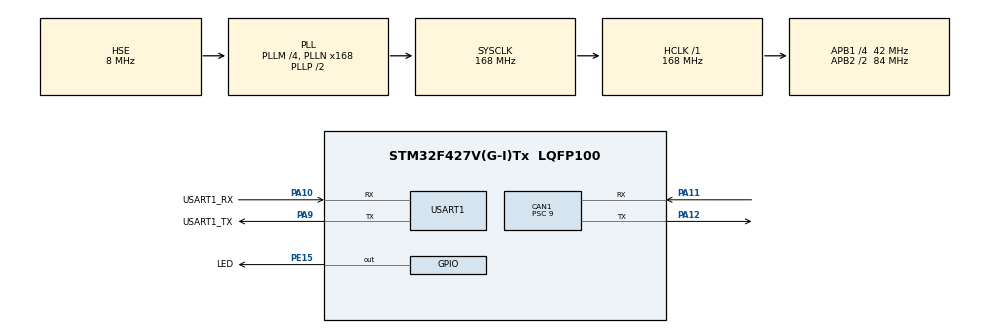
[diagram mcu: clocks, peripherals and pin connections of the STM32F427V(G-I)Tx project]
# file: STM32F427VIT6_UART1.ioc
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CAN1.BS1=CAN_BS1_5TQ
CAN1.BS2=CAN_BS2_6TQ
CAN1.CalculateTimeBit=2571
CAN1.CalculateTimeQuantum=214.28571428571428
CAN1.Prescaler=9
Mcu.Family=STM32F4
Mcu.Name=STM32F427V(G-I)Tx
Mcu.Package=LQFP100
NVIC.PriorityGroup=NVIC_PRIORITYGROUP_4
NVIC.USART1_IRQn=true\:0\:0\:false\:false\:true\:true
PA10.GPIO_Label=USART1_RX
PA10.Mode=Asynchronous
PA10.Signal=USART1_RX
PA11.Mode=Master
PA11.Signal=CAN1_RX
PA12.Mode=Master
PA12.Signal=CAN1_TX
PA9.GPIO_Label=USART1_TX
PA9.Mode=Asynchronous
PA9.Signal=USART1_TX
PE15.GPIO_Label=LED
PE15.PinState=GPIO_PIN_SET
PE15.Signal=GPIO_Output
PH0/OSC_IN.Mode=HSE-External-Oscillator
PH0/OSC_IN.Signal=RCC_OSC_IN
PH1/OSC_OUT.Mode=HSE-External-Oscillator
PH1/OSC_OUT.Signal=RCC_OSC_OUT
ProjectManager.HeapSize=0x200
ProjectManager.StackSize=0x400
ProjectManager.TargetToolchain=MDK-ARM V5
RCC.48MHZClocksFreq_Value=84000000
RCC.AHBFreq_Value=168000000
RCC.APB1CLKDivider=RCC_HCLK_DIV4
RCC.APB1Freq_Value=42000000
RCC.APB1TimFreq_Value=84000000
RCC.APB2CLKDivider=RCC_HCLK_DIV2
RCC.APB2Freq_Value=84000000
RCC.APB2TimFreq_Value=168000000
RCC.CortexFreq_Value=168000000
RCC.HCLKFreq_Value=168000000
RCC.HSE_VALUE=8000000
RCC.HSI_VALUE=16000000
RCC.LSE_VALUE=32768
RCC.PLLM=4
RCC.PLLN=168
RCC.PLLSourceVirtual=RCC_PLLSOURCE_HSE
RCC.SYSCLKFreq_VALUE=168000000
RCC.SYSCLKSource=RCC_SYSCLKSOURCE_PLLCLK
RCC.VCOOutputFreq_Value=336000000
USART1.VirtualMode=VM_ASYNC
board=STM32F427VIT6_UART1

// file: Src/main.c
/**
  ******************************************************************************
  * File Name          : main.c
  * Description        : Main program body
  ******************************************************************************
  ** This notice applies to any and all portions of this file
  * that are not between comment pairs USER CODE BEGIN and
  * USER CODE END. Other portions of this file, whether
  * inserted by the user or by software development tools
  * are owned by their respective copyright owners.
  *
  * COPYRIGHT(c) 2018 STMicroelectronics
  *
  * Redistribution and use in source and binary forms, with or without modification,
  * are permitted provided that the following conditions are met:
  *   1. Redistributions of source code must retain the above copyright notice,
  *      this list of conditions and the following disclaimer.
  *   2. Redistributions in binary form must reproduce the above copyright notice,
  *      this list of conditions and the following disclaimer in the documentation
  *      and/or other materials provided with the distribution.
  *   3. Neither the name of STMicroelectronics nor the names of its contributors
  *      may be used to endorse or promote products derived from this software
  *      without specific prior written permission.
  *
  * THIS SOFTWARE IS PROVIDED BY THE COPYRIGHT HOLDERS AND CONTRIBUTORS "AS IS"
  * AND ANY EXPRESS OR IMPLIED WARRANTIES, INCLUDING, BUT NOT LIMITED TO, THE
  * IMPLIED WARRANTIES OF MERCHANTABILITY AND FITNESS FOR A PARTICULAR PURPOSE ARE
  * DISCLAIMED. IN NO EVENT SHALL THE COPYRIGHT HOLDER OR CONTRIBUTORS BE LIABLE
  * FOR ANY DIRECT, INDIRECT, INCIDENTAL, SPECIAL, EXEMPLARY, OR CONSEQUENTIAL
  * DAMAGES (INCLUDING, BUT NOT LIMITED TO, PROCUREMENT OF SUBSTITUTE GOODS OR
  * SERVICES; LOSS OF USE, DATA, OR PROFITS; OR BUSINESS INTERRUPTION) HOWEVER
  * CAUSED AND ON ANY THEORY OF LIABILITY, WHETHER IN CONTRACT, STRICT LIABILITY,
  * OR TORT (INCLUDING NEGLIGENCE OR OTHERWISE) ARISING IN ANY WAY OUT OF THE USE
  * OF THIS SOFTWARE, EVEN IF ADVISED OF THE POSSIBILITY OF SUCH DAMAGE.
  *
  ******************************************************************************
  */

#include "main.h"
#include "stm32f4xx_hal.h"

CAN_HandleTypeDef hcan1;

UART_HandleTypeDef huart1;

/* USER CODE BEGIN PV */
/* Private variables ---------------------------------------------------------*/

/* USER CODE END PV */

void SystemClock_Config(void);
static void MX_GPIO_Init(void);
static void MX_USART1_UART_Init(void);
static void MX_CAN1_Init(void);

/* USER CODE BEGIN PFP */
/* Private function prototypes -----------------------------------------------*/

/* USER CODE END PFP */

/* USER CODE BEGIN 0 */

//printf重定义
#ifdef __GNUC__
  /* With GCC/RAISONANCE, small printf (option LD Linker->Libraries->Small printf
     set to 'Yes') calls __io_putchar() */
  #define PUTCHAR_PROTOTYPE int __io_putchar(int ch)
#else
  #define PUTCHAR_PROTOTYPE int fputc(int ch, FILE *f)
#endif /* __GNUC__ */
/**
  * @brief  Retargets the C library printf function to the USART.
  * @param  None
  * @retval None
  */
PUTCHAR_PROTOTYPE
{
  /* Place your implementation of fputc here */
  /* e.g. write a character to the EVAL_COM1 and Loop until the end of transmission */
  HAL_UART_Transmit(&huart1, (uint8_t *)&ch, 1, 0xFFFF);

  return ch;
}

/* USER CODE END 0 */

int main(void)
{

  /* USER CODE BEGIN 1 */
//	u16 VAL=0;
	uint8_t count;
//	u16 Num[5];
//	float temp;
  /* USER CODE END 1 */

  /* MCU Configuration----------------------------------------------------------*/

  /* Reset of all peripherals, Initializes the Flash interface and the Systick. */
  HAL_Init();

  /* Configure the system clock */
  SystemClock_Config();

  /* Initialize all configured peripherals */
  MX_GPIO_Init();
  MX_USART1_UART_Init();
  MX_CAN1_Init();

  /* Infinite loop */
  while (1)
  {

  /* USER CODE BEGIN 3 */

	   HAL_Delay(10);
	   count++;
       if(count>100)				//提示程序运行
	   {
		   count=0;
		   printf("正常运行\r\n");
		   HAL_GPIO_TogglePin(LED_GPIO_Port,LED_Pin);
	   }
  }
  /* USER CODE END 3 */

}

/** System Clock Configuration
*/
void SystemClock_Config(void)
{

  RCC_OscInitTypeDef RCC_OscInitStruct;
  RCC_ClkInitTypeDef RCC_ClkInitStruct;

    /**Configure the main internal regulator output voltage
    */
  __HAL_RCC_PWR_CLK_ENABLE();

  __HAL_PWR_VOLTAGESCALING_CONFIG(PWR_REGULATOR_VOLTAGE_SCALE1);

    /**Initializes the CPU, AHB and APB busses clocks
    */
  RCC_OscInitStruct.OscillatorType = RCC_OSCILLATORTYPE_HSE;
  RCC_OscInitStruct.HSEState = RCC_HSE_ON;
  RCC_OscInitStruct.PLL.PLLState = RCC_PLL_ON;
  RCC_OscInitStruct.PLL.PLLSource = RCC_PLLSOURCE_HSE;
  RCC_OscInitStruct.PLL.PLLM = 4;
  RCC_OscInitStruct.PLL.PLLN = 168;
  RCC_OscInitStruct.PLL.PLLP = RCC_PLLP_DIV2;
  RCC_OscInitStruct.PLL.PLLQ = 4;
  if (HAL_RCC_OscConfig(&RCC_OscInitStruct) != HAL_OK)
  {
    _Error_Handler(__FILE__, __LINE__);
  }

    /**Initializes the CPU, AHB and APB busses clocks
    */
  RCC_ClkInitStruct.ClockType = RCC_CLOCKTYPE_HCLK|RCC_CLOCKTYPE_SYSCLK
                              |RCC_CLOCKTYPE_PCLK1|RCC_CLOCKTYPE_PCLK2;
  RCC_ClkInitStruct.SYSCLKSource = RCC_SYSCLKSOURCE_PLLCLK;
  RCC_ClkInitStruct.AHBCLKDivider = RCC_SYSCLK_DIV1;
  RCC_ClkInitStruct.APB1CLKDivider = RCC_HCLK_DIV4;
  RCC_ClkInitStruct.APB2CLKDivider = RCC_HCLK_DIV2;

  if (HAL_RCC_ClockConfig(&RCC_ClkInitStruct, FLASH_LATENCY_5) != HAL_OK)
  {
    _Error_Handler(__FILE__, __LINE__);
  }

    /**Configure the Systick interrupt time
    */
  HAL_SYSTICK_Config(HAL_RCC_GetHCLKFreq()/1000);

    /**Configure the Systick
    */
  HAL_SYSTICK_CLKSourceConfig(SYSTICK_CLKSOURCE_HCLK);

  /* SysTick_IRQn interrupt configuration */
  HAL_NVIC_SetPriority(SysTick_IRQn, 0, 0);
}

/* CAN1 init function */
static void MX_CAN1_Init(void)
{

  hcan1.Instance = CAN1;
  hcan1.Init.Prescaler = 9;
  hcan1.Init.Mode = CAN_MODE_NORMAL;
  hcan1.Init.SJW = CAN_SJW_1TQ;
  hcan1.Init.BS1 = CAN_BS1_5TQ;
  hcan1.Init.BS2 = CAN_BS2_6TQ;
  hcan1.Init.TTCM = DISABLE;
  hcan1.Init.ABOM = DISABLE;
  hcan1.Init.AWUM = DISABLE;
  hcan1.Init.NART = DISABLE;
  hcan1.Init.RFLM = DISABLE;
  hcan1.Init.TXFP = DISABLE;
  if (HAL_CAN_Init(&hcan1) != HAL_OK)
  {
    _Error_Handler(__FILE__, __LINE__);
  }

}

/* USART1 init function */
static void MX_USART1_UART_Init(void)
{

  huart1.Instance = USART1;
  huart1.Init.BaudRate = 115200;
  huart1.Init.WordLength = UART_WORDLENGTH_8B;
  huart1.Init.StopBits = UART_STOPBITS_1;
  huart1.Init.Parity = UART_PARITY_NONE;
  huart1.Init.Mode = UART_MODE_TX_RX;
  huart1.Init.HwFlowCtl = UART_HWCONTROL_NONE;
  huart1.Init.OverSampling = UART_OVERSAMPLING_16;
  if (HAL_UART_Init(&huart1) != HAL_OK)
  {
    _Error_Handler(__FILE__, __LINE__);
  }

}

/** Configure pins as
        * Analog
        * Input
        * Output
        * EVENT_OUT
        * EXTI
*/
static void MX_GPIO_Init(void)
{

  GPIO_InitTypeDef GPIO_InitStruct;

  /* GPIO Ports Clock Enable */
  __HAL_RCC_GPIOH_CLK_ENABLE();
  __HAL_RCC_GPIOE_CLK_ENABLE();
  __HAL_RCC_GPIOA_CLK_ENABLE();

  /*Configure GPIO pin Output Level */
  HAL_GPIO_WritePin(LED_GPIO_Port, LED_Pin, GPIO_PIN_SET);

  /*Configure GPIO pin : LED_Pin */
  GPIO_InitStruct.Pin = LED_Pin;
  GPIO_InitStruct.Mode = GPIO_MODE_OUTPUT_PP;
  GPIO_InitStruct.Pull = GPIO_NOPULL;
  GPIO_InitStruct.Speed = GPIO_SPEED_FREQ_LOW;
  HAL_GPIO_Init(LED_GPIO_Port, &GPIO_InitStruct);

}

/* USER CODE BEGIN 4 */
//void HAL_UART_MspInit(UART_HandleTypeDef *huart)
//{
//    //GPIO端口设置
//	GPIO_InitTypeDef GPIO_Initure;
//
//	if(huart->Instance==USART1)//如果是串口1，进行串口1 MSP初始化
//	{
//		__HAL_RCC_GPIOA_CLK_ENABLE();			//使能GPIOA时钟
//		__HAL_RCC_USART1_CLK_ENABLE();			//使能USART1时钟
//
//		GPIO_Initure.Pin=GPIO_PIN_9;			//PA9
//		GPIO_Initure.Mode=GPIO_MODE_AF_PP;		//复用推挽输出
//		GPIO_Initure.Pull=GPIO_PULLUP;			//上拉
//		GPIO_Initure.Speed=GPIO_SPEED_FAST;		//高速
//		GPIO_Initure.Alternate=GPIO_AF7_USART1;	//复用为USART1
//		HAL_GPIO_Init(GPIOA,&GPIO_Initure);	   	//初始化PA9

//		GPIO_Initure.Pin=GPIO_PIN_10;			//PA10
//		HAL_GPIO_Init(GPIOA,&GPIO_Initure);	   	//初始化PA10
//
//#if EN_USART1_RX
//		HAL_NVIC_EnableIRQ(USART1_IRQn);		//使能USART1中断通道
//		HAL_NVIC_SetPriority(USART1_IRQn,3,3);	//抢占优先级3，子优先级3
//#endif
//	}

//}
/* USER CODE END 4 */

void _Error_Handler(char * file, int line)
{
  while(1)
  {
  }
}

/************************ (C) COPYRIGHT STMicroelectronics *****END OF FILE****/
